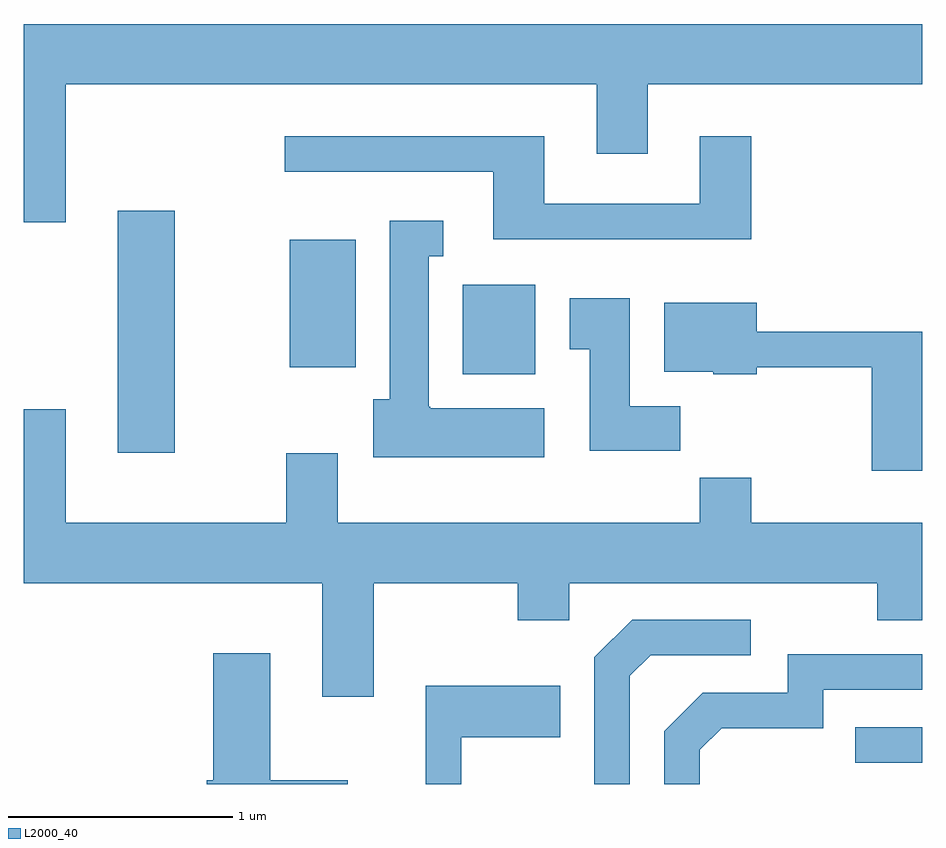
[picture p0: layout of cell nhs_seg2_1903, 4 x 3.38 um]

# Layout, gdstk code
import gdstk
lib = gdstk.Library(unit=1e-6, precision=1e-09)
def R(c, l, rs):  # rectangles x0, y0, x1, y1
    for r in rs: c.add(gdstk.rectangle(r[:2], r[2:], *l))
def P(c, l, *ps):  # polygons
    for p in ps: c.add(gdstk.Polygon(p, *l))
L2000_40 = (2000, 40)

nhs_seg2_1903 = lib.new_cell('nhs_seg2_1903')
R(nhs_seg2_1903, L2000_40, [(243.313,1111.896,243.611,1112.054), (240.031,1113.276,240.284,1114.354), (241.566,1113.626,241.889,1114.024), (240.796,1113.656,241.089,1114.224)])
P(nhs_seg2_1903, L2000_40, [(239.799,1114.916),(242.161,1114.916),(242.161,1114.606),(242.389,1114.606),(242.389,1114.916),(243.611,1114.916),(243.611,1115.184),(239.611,1115.184),(239.611,1114.301),(239.799,1114.301)],
  [(242.849,1114.684),(242.621,1114.684),(242.621,1114.384),(241.929,1114.384),(241.929,1114.684),(240.773,1114.684),(240.773,1114.526),(241.701,1114.526),(241.701,1114.226),(242.849,1114.226)],
  [(241.929,1113.474),(241.42,1113.474),(241.42,1113.48),(241.414,1113.48),(241.414,1114.151),(241.478,1114.151),(241.478,1114.309),(241.241,1114.309),(241.241,1113.514),(241.166,1113.514),(241.166,1113.256),(241.929,1113.256)],
  [(242.534,1113.484),(242.309,1113.484),(242.309,1113.964),(242.041,1113.964),(242.041,1113.736),(242.131,1113.736),(242.131,1113.286),(242.534,1113.286)],
  [(243.611,1113.814),(242.874,1113.814),(242.874,1113.944),(242.461,1113.944),(242.461,1113.636),(242.68,1113.636),(242.68,1113.626),(242.874,1113.626),(242.874,1113.656),(243.386,1113.656),(243.386,1113.196),(243.611,1113.196)],
  [(241.169,1112.696),(241.811,1112.696),(241.811,1112.531),(242.039,1112.531),(242.039,1112.696),(243.411,1112.696),(243.411,1112.531),(243.611,1112.531),(243.611,1112.964),(242.849,1112.964),(242.849,1113.164),(242.621,1113.164),(242.621,1112.964),(241.009,1112.964),(241.009,1113.274),(240.781,1113.274),(240.781,1112.964),(239.799,1112.964),(239.799,1113.469),(239.611,1113.469),(239.611,1112.696),(240.941,1112.696),(240.941,1112.191),(241.169,1112.191)],
  [(242.309,1112.284),(242.402,1112.376),(242.848,1112.376),(242.848,1112.534),(242.319,1112.534),(242.151,1112.367),(242.151,1111.802),(242.309,1111.802)],
  [(241.054,1111.819),(240.709,1111.819),(240.709,1112.384),(240.456,1112.384),(240.456,1111.819),(240.426,1111.819),(240.426,1111.802),(241.054,1111.802)],
  [(242.619,1111.954),(242.717,1112.051),(243.169,1112.051),(243.169,1112.221),(243.611,1112.221),(243.611,1112.379),(243.011,1112.379),(243.011,1112.209),(242.634,1112.209),(242.461,1112.037),(242.461,1111.802),(242.619,1111.802)],
  [(241.559,1112.011),(241.999,1112.011),(241.999,1112.239),(241.401,1112.239),(241.401,1111.802),(241.559,1111.802)])

lib.write_gds('nhs_seg2_1903.gds')
